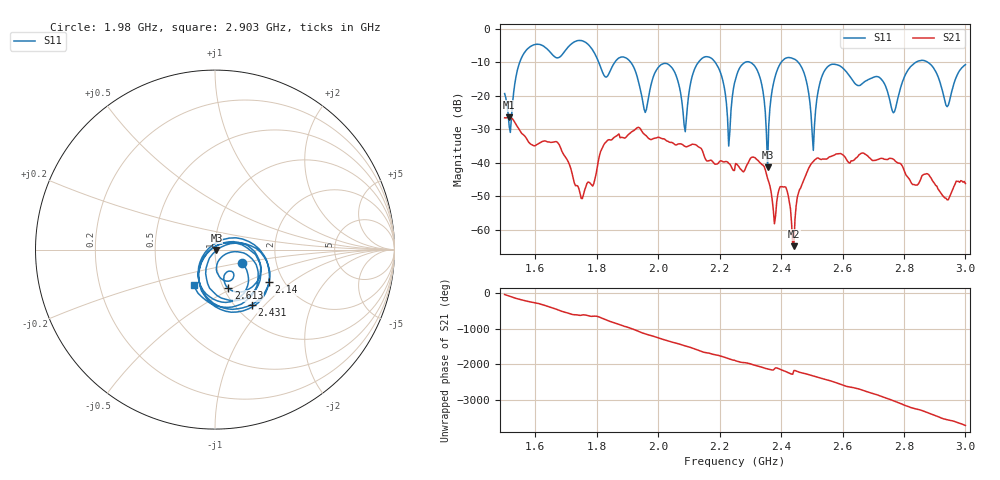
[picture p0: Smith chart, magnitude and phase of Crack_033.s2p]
# HZ S RI R 50
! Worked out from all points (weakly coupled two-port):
!   404 points, 1.5 GHz to 3 GHz, reference 50 ohm
!   highest |S21| = -26.49 dB at 1.515 GHz (marker M1); lowest = -65.0 dB at 2.442 GHz (marker M2)
!   lowest |S11| = -41.4 dB at 2.356 GHz (marker M3), VSWR 1.02, Z = 50.8 - j0.275 ohm
!   |S11| at or under -10 dB: 1.91 GHz to 2.131 GHz (221 MHz wide, 10.9 % of centre); 2.456 GHz to 2.839 GHz (383.8 MHz wide, 14.5 % of centre); 2.877 GHz to end of sweep (the widest 3 of 7)
!   S12 and S22 are empty: the file has one direction only
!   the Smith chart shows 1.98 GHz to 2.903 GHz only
!   S11 on the Smith chart (normalised r, x): 1.98 GHz: 1.33, -0.21; 2.14 GHz: 1.68, -0.70; 2.431 GHz: 1.19, -0.84; 2.613 GHz: 1.05, -0.47; 2.903 GHz: 0.73, -0.30
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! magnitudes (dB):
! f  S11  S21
! 1.5 GHz  -19.4  -26.6
! 1.515 GHz  -29.1  -26.5
! 1.574 GHz  -6.0  -33.3
! 1.753 GHz  -3.6  -50.7
! 1.831 GHz  -14.5  -33.8
! 1.98 GHz  -15.5  -33.0
! 2.002 GHz  -11.3  -32.5
! 2.088 GHz  -30.8  -35.2
! 2.14 GHz  -9.1  -35.8
! 2.23 GHz  -35.1  -40.2
! 2.252 GHz  -15.0  -40.3
! 2.315 GHz  -11.3  -38.5
! 2.356 GHz  -41.4  -44.7
! 2.431 GHz  -8.7  -53.7
! 2.442 GHz  -9.0  -65.0
! 2.501 GHz  -31.3  -40.0
! 2.542 GHz  -12.5  -38.9
! 2.613 GHz  -12.9  -39.1
! 2.751 GHz  -20.2  -38.8
! 2.903 GHz  -12.8  -46.8
! 2.94 GHz  -23.3  -51.1
! 3 GHz  -10.7  -46.2
